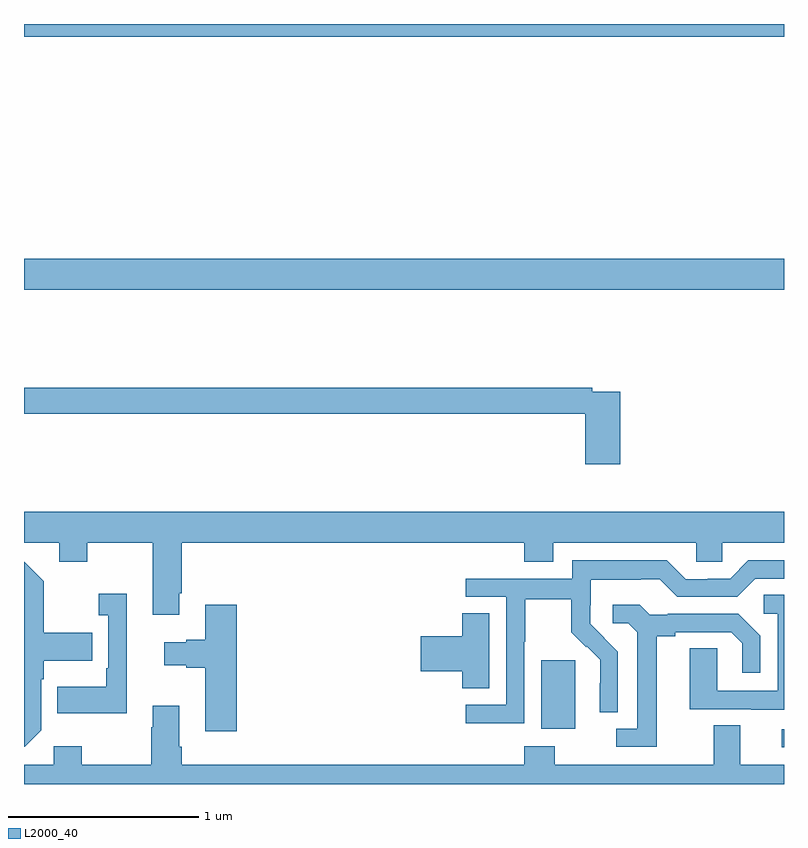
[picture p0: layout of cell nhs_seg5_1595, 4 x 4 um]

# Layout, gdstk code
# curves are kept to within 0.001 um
import gdstk
lib = gdstk.Library(unit=1e-6, precision=1e-09)
def R(c, l, rs):  # rectangles x0, y0, x1, y1
    for r in rs: c.add(gdstk.rectangle(r[:2], r[2:], *l))
def P(c, l, *ps):  # polygons
    for p in ps: c.add(gdstk.Polygon(p, *l))
L2000_40 = (2000, 40)

nhs_seg5_1595 = lib.new_cell('nhs_seg5_1595')
R(nhs_seg5_1595, L2000_40, [(210.987,880.992,211,881.088), (209.723,881.09,209.902,881.451), (207,883.4,211,883.564), (207,884.732,211,884.799)])
P(nhs_seg5_1595, L2000_40, [(210.137,882.864),(209.99,882.864),(209.99,882.884),(207,882.884),(207,882.748),(209.954,882.748),(209.954,882.483),(210.137,882.483)],
  [(207.817,881.803),(207.83,881.803),(207.83,882.068),(209.633,882.068),(209.633,881.969),(209.785,881.969),(209.785,882.068),(210.537,882.068),(210.537,881.97),(210.675,881.97),(210.675,882.068),(211,882.068),(211,882.232),(207,882.232),(207,882.068),(207.185,882.068),(207.185,881.969),(207.333,881.969),(207.333,882.068),(207.677,882.068),(207.677,881.691),(207.817,881.691)],
  [(209.634,881.548),(209.637,881.548),(209.637,881.772),(209.881,881.772),(209.881,881.597),(209.958,881.52),(209.961,881.523),(210.032,881.453),(210.032,881.33),(210.03,881.33),(210.03,881.176),(210.126,881.176),(210.126,881.494),(209.98,881.642),(209.98,881.739),(209.982,881.739),(209.982,881.873),(210.245,881.873),(210.245,881.877),(210.345,881.877),(210.438,881.784),(210.753,881.784),(210.849,881.88),(211,881.88),(211,881.976),(210.813,881.976),(210.717,881.88),(210.599,881.88),(210.599,881.877),(210.483,881.877),(210.383,881.977),(209.886,881.977),(209.886,881.88),(209.325,881.88),(209.325,881.784),(209.538,881.784),(209.538,881.217),(209.325,881.217),(209.325,881.119),(209.634,881.119)],
  [(207.09,881.082),(207.09,881.351),(207.103,881.351),(207.103,881.447),(207.359,881.447),(207.359,881.595),(207.103,881.595),(207.103,881.867),(207,881.97),(207,880.995),(207.003,880.995)],
  [(207.542,881.8),(207.393,881.8),(207.393,881.687),(207.444,881.687),(207.444,881.407),(207.432,881.407),(207.432,881.311),(207.175,881.311),(207.175,881.171),(207.542,881.171)],
  [(211,881.795),(210.894,881.795),(210.894,881.694),(210.966,881.694),(210.966,881.289),(210.648,881.289),(210.648,881.513),(210.503,881.513),(210.503,881.193),(210.827,881.193),(210.827,881.189),(211,881.189)],
  [(208.121,881.743),(207.953,881.743),(207.953,881.558),(207.854,881.558),(207.854,881.545),(207.738,881.545),(207.738,881.423),(207.854,881.423),(207.854,881.411),(207.953,881.411),(207.953,881.076),(208.121,881.076)],
  [(210.331,881.576),(210.427,881.576),(210.427,881.598),(210.722,881.598),(210.779,881.541),(210.779,881.385),(210.876,881.385),(210.876,881.578),(210.76,881.694),(210.388,881.694),(210.388,881.691),(210.294,881.691),(210.242,881.743),(210.099,881.743),(210.099,881.646),(210.18,881.646),(210.227,881.599),(210.227,881.091),(210.117,881.091),(210.117,880.995),(210.331,880.995)],
  [(209.449,881.699),(209.306,881.699),(209.306,881.576),(209.088,881.576),(209.088,881.393),(209.306,881.393),(209.306,881.302),(209.449,881.302)],
  [(211,880.9),(210.769,880.9),(210.769,881.108),(210.629,881.108),(210.629,880.9),(209.793,880.9),(209.793,880.999),(209.633,880.999),(209.633,880.9),(207.83,880.9),(207.83,880.996),(207.817,880.996),(207.817,881.212),(207.677,881.212),(207.677,881.099),(207.67,881.099),(207.67,880.9),(207.303,880.9),(207.303,880.999),(207.156,880.999),(207.156,880.9),(207,880.9),(207,880.799),(211,880.799)])

lib.write_gds('nhs_seg5_1595.gds')
